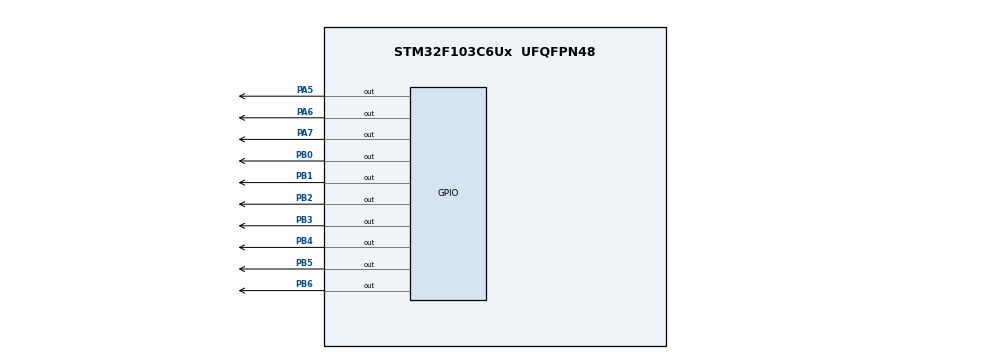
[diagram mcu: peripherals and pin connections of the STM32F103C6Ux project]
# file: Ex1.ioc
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Mcu.Family=STM32F1
Mcu.Name=STM32F103C6Ux
Mcu.Package=UFQFPN48
NVIC.PriorityGroup=NVIC_PRIORITYGROUP_4
NVIC.TIM2_IRQn=true\:0\:0\:false\:false\:true\:true\:true
PA5.Signal=GPIO_Output
PA6.Signal=GPIO_Output
PA7.Signal=GPIO_Output
PB0.Signal=GPIO_Output
PB1.Signal=GPIO_Output
PB2.Signal=GPIO_Output
PB3.Signal=GPIO_Output
PB4.Signal=GPIO_Output
PB5.Signal=GPIO_Output
PB6.Signal=GPIO_Output
ProjectManager.HeapSize=0x200
ProjectManager.StackSize=0x400
ProjectManager.TargetToolchain=STM32CubeIDE
RCC.APB1Freq_Value=8000000
RCC.APB2Freq_Value=8000000
TIM2.Period=9
TIM2.Prescaler=7999
VP_SYS_VS_ND.Mode=No_Debug
VP_TIM2_VS_ClockSourceINT.Mode=Internal
board=custom

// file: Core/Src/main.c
/* USER CODE BEGIN Header */
/**
  ******************************************************************************
  * @file           : main.c
  * @brief          : Main program body
  ******************************************************************************
  * @attention
  *
  * <h2><center>&copy; Copyright (c) 2022 STMicroelectronics.
  * All rights reserved.</center></h2>
  *
  * This software component is licensed by ST under BSD 3-Clause license,
  * the "License"; You may not use this file except in compliance with the
  * License. You may obtain a copy of the License at:
  *                        opensource.org/licenses/BSD-3-Clause
  *
  ******************************************************************************
  */
/* USER CODE END Header */
#include "main.h"

TIM_HandleTypeDef htim2;

void SystemClock_Config(void);
static void MX_TIM2_Init(void);
static void MX_GPIO_Init(void);

/* USER CODE BEGIN 0 */
int arr[10] = {
		0x00C0,  //0
		0x00F9,  //1
		0x00A4,  //2
		0x00B0,  //3
		0x0099,  //4
		0x0092,  //5
		0x0082,  //6
		0x00F8,  //7
		0x0080,  //8
		0x0090,  //9
};
void display_7segment(int number){
//	HAL_GPIO_WritePin(GPIOB,GPIO_PIN_0,(number>>0)&0x01);
//	HAL_GPIO_WritePin(GPIOB,GPIO_PIN_1,(number>>1)&0x01);
//	HAL_GPIO_WritePin(GPIOB,GPIO_PIN_2,(number>>2)&0x01);
//	HAL_GPIO_WritePin(GPIOB,GPIO_PIN_3,(number>>3)&0x01);
//	HAL_GPIO_WritePin(GPIOB,GPIO_PIN_4,(number>>4)&0x01);
//	HAL_GPIO_WritePin(GPIOB,GPIO_PIN_5,(number>>5)&0x01);
//	HAL_GPIO_WritePin(GPIOB,GPIO_PIN_6,(number>>6)&0x01);
	GPIOB->ODR = arr[number];
}
/* USER CODE END 0 */

int main(void)
{

  /* MCU Configuration--------------------------------------------------------*/

  /* Reset of all peripherals, Initializes the Flash interface and the Systick. */
  HAL_Init();

  /* Configure the system clock */
  SystemClock_Config();

  /* Initialize all configured peripherals */
  MX_TIM2_Init();
  MX_GPIO_Init();
  /* USER CODE BEGIN 2 */
  HAL_TIM_Base_Start_IT (& htim2 ) ;
  /* USER CODE END 2 */

  /* Infinite loop */
  while (1)
  {

  }
}

void SystemClock_Config(void)
{
  RCC_OscInitTypeDef RCC_OscInitStruct = {0};
  RCC_ClkInitTypeDef RCC_ClkInitStruct = {0};

  /** Initializes the RCC Oscillators according to the specified parameters
  * in the RCC_OscInitTypeDef structure.
  */
  RCC_OscInitStruct.OscillatorType = RCC_OSCILLATORTYPE_HSI;
  RCC_OscInitStruct.HSIState = RCC_HSI_ON;
  RCC_OscInitStruct.HSICalibrationValue = RCC_HSICALIBRATION_DEFAULT;
  RCC_OscInitStruct.PLL.PLLState = RCC_PLL_NONE;
  if (HAL_RCC_OscConfig(&RCC_OscInitStruct) != HAL_OK)
  {
    Error_Handler();
  }
  /** Initializes the CPU, AHB and APB buses clocks
  */
  RCC_ClkInitStruct.ClockType = RCC_CLOCKTYPE_HCLK|RCC_CLOCKTYPE_SYSCLK
                              |RCC_CLOCKTYPE_PCLK1|RCC_CLOCKTYPE_PCLK2;
  RCC_ClkInitStruct.SYSCLKSource = RCC_SYSCLKSOURCE_HSI;
  RCC_ClkInitStruct.AHBCLKDivider = RCC_SYSCLK_DIV1;
  RCC_ClkInitStruct.APB1CLKDivider = RCC_HCLK_DIV1;
  RCC_ClkInitStruct.APB2CLKDivider = RCC_HCLK_DIV1;

  if (HAL_RCC_ClockConfig(&RCC_ClkInitStruct, FLASH_LATENCY_0) != HAL_OK)
  {
    Error_Handler();
  }
}

static void MX_TIM2_Init(void)
{

  TIM_ClockConfigTypeDef sClockSourceConfig = {0};
  TIM_MasterConfigTypeDef sMasterConfig = {0};

  htim2.Instance = TIM2;
  htim2.Init.Prescaler = 7999;
  htim2.Init.CounterMode = TIM_COUNTERMODE_UP;
  htim2.Init.Period = 9;
  htim2.Init.ClockDivision = TIM_CLOCKDIVISION_DIV1;
  htim2.Init.AutoReloadPreload = TIM_AUTORELOAD_PRELOAD_DISABLE;
  if (HAL_TIM_Base_Init(&htim2) != HAL_OK)
  {
    Error_Handler();
  }
  sClockSourceConfig.ClockSource = TIM_CLOCKSOURCE_INTERNAL;
  if (HAL_TIM_ConfigClockSource(&htim2, &sClockSourceConfig) != HAL_OK)
  {
    Error_Handler();
  }
  sMasterConfig.MasterOutputTrigger = TIM_TRGO_RESET;
  sMasterConfig.MasterSlaveMode = TIM_MASTERSLAVEMODE_DISABLE;
  if (HAL_TIMEx_MasterConfigSynchronization(&htim2, &sMasterConfig) != HAL_OK)
  {
    Error_Handler();
  }

}

static void MX_GPIO_Init(void)
{
  GPIO_InitTypeDef GPIO_InitStruct = {0};

  /* GPIO Ports Clock Enable */
  __HAL_RCC_GPIOA_CLK_ENABLE();
  __HAL_RCC_GPIOB_CLK_ENABLE();

  /*Configure GPIO pin Output Level */
  HAL_GPIO_WritePin(GPIOA, GPIO_PIN_5|GPIO_PIN_6|GPIO_PIN_7, GPIO_PIN_RESET);

  /*Configure GPIO pin Output Level */
  HAL_GPIO_WritePin(GPIOB, GPIO_PIN_0|GPIO_PIN_1|GPIO_PIN_2|GPIO_PIN_3
                          |GPIO_PIN_4|GPIO_PIN_5|GPIO_PIN_6, GPIO_PIN_RESET);

  /*Configure GPIO pins : PA5 PA6 PA7 */
  GPIO_InitStruct.Pin = GPIO_PIN_5|GPIO_PIN_6|GPIO_PIN_7;
  GPIO_InitStruct.Mode = GPIO_MODE_OUTPUT_PP;
  GPIO_InitStruct.Pull = GPIO_NOPULL;
  GPIO_InitStruct.Speed = GPIO_SPEED_FREQ_LOW;
  HAL_GPIO_Init(GPIOA, &GPIO_InitStruct);

  /*Configure GPIO pins : PB0 PB1 PB2 PB3
                           PB4 PB5 PB6 */
  GPIO_InitStruct.Pin = GPIO_PIN_0|GPIO_PIN_1|GPIO_PIN_2|GPIO_PIN_3
                          |GPIO_PIN_4|GPIO_PIN_5|GPIO_PIN_6;
  GPIO_InitStruct.Mode = GPIO_MODE_OUTPUT_PP;
  GPIO_InitStruct.Pull = GPIO_NOPULL;
  GPIO_InitStruct.Speed = GPIO_SPEED_FREQ_LOW;
  HAL_GPIO_Init(GPIOB, &GPIO_InitStruct);

}

/* USER CODE BEGIN 4 */
int cnt = 50;
int en1 = 0,en2 = 1;
void HAL_TIM_PeriodElapsedCallback ( TIM_HandleTypeDef * htim ){
	cnt--;
	if(cnt <= 0){
		cnt = 50;
		en1 = 1-en1;
		en2 = 1-en2;
		if(!en1){
			HAL_GPIO_TogglePin(GPIOA,GPIO_PIN_5);
		}
	}
	HAL_GPIO_WritePin(GPIOA,GPIO_PIN_6,en1);
	HAL_GPIO_WritePin(GPIOA,GPIO_PIN_7,en2);
	if(!en1){
		display_7segment(1);
	}
	else if(!en2){
		display_7segment(2);
	}
}

/* USER CODE END 4 */

void Error_Handler(void)
{
  __disable_irq();
  while (1)
  {
  }
}

/************************ (C) COPYRIGHT STMicroelectronics *****END OF FILE****/
